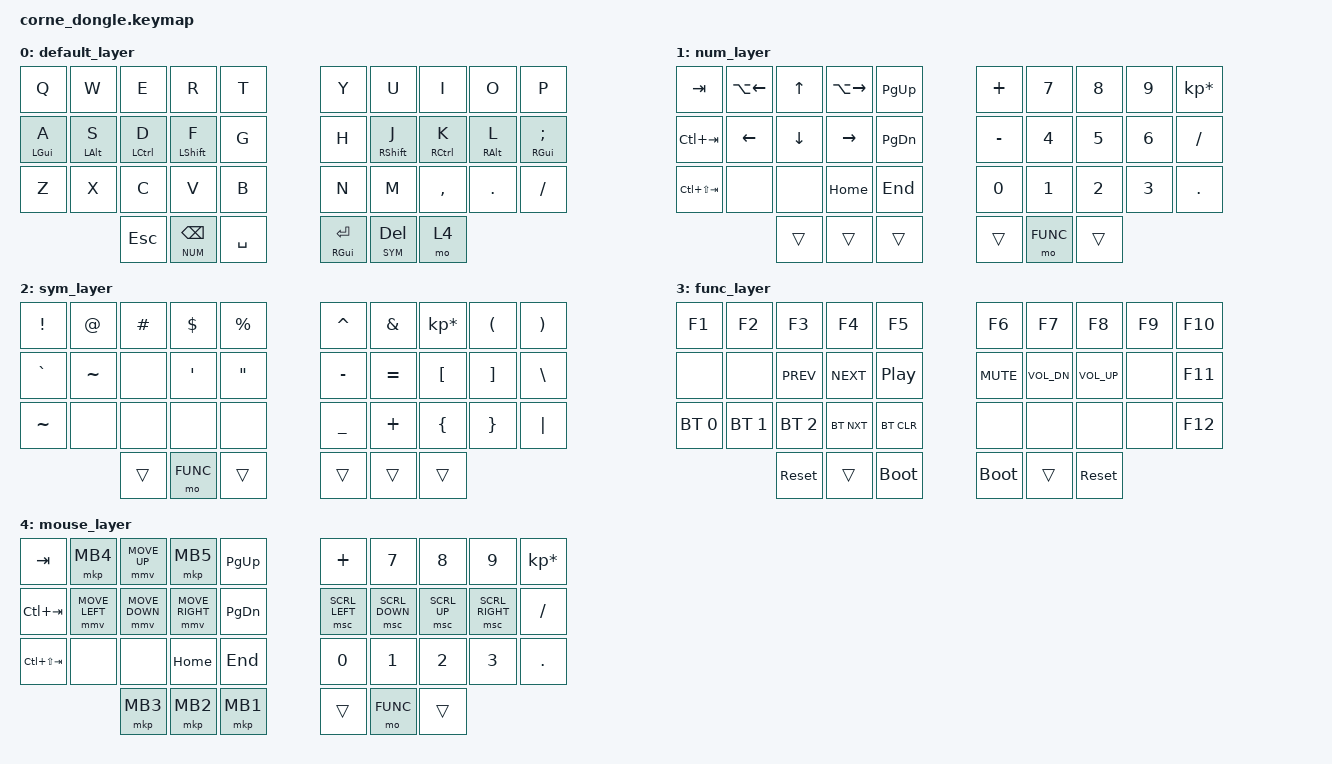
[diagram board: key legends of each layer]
/*
 * Copyright (c) 2020 The ZMK Contributors
 *
 * SPDX-License-Identifier: MIT
 */

#include <dt-bindings/zmk/keys.h>
#include <dt-bindings/zmk/bt.h>
#include <behaviors.dtsi>

#define ZMK_POINTING_DEFAULT_MOVE_VAL 1500

#include <dt-bindings/zmk/pointing.h>

// LAYERS
#define DEFAULT 0
#define NUM     1
#define SYM     2
#define FUNC    3
#define MOUSE   4

&mt {
  tapping-term-ms = <200>;
  flavor = "tap-preferred";
};

/ {
  behaviors {
    hml: homerow_mods_left {
      compatible = "zmk,behavior-hold-tap";
      label = "HOMEROW_MODS";
      #binding-cells = <2>;
      tapping-term-ms = <150>;
      require-prior-idle-ms = <85>;
      quick-tap-ms = <0>;
      flavor = "balanced";
      hold-trigger-key-positions = <6 7 8 9 10 11 18 19 20 21 22 29 30 31 32 33 34 38 39 40>;
      bindings = <&kp>, <&kp>;
      hold-trigger-on-release;
    };

    hmr: homerow_mods_right {
      compatible = "zmk,behavior-hold-tap";
      label = "HOMEROW_MODS";
      #binding-cells = <2>;
      tapping-term-ms = <150>;
      require-prior-idle-ms = <85>;
      quick-tap-ms = <0>;
      flavor = "balanced";
      hold-trigger-key-positions = <0 1 2 3 4 5 12 13 14 15 16 17 23 24 25 26 27 28 35 36 37>;
      bindings = <&kp>, <&kp>;
      hold-trigger-on-release;
    };
  };

  combos {
    compatible = "zmk,combos";
    combo_cword {
      timeout-ms = <75>;
      key-positions = <16 19>;
      bindings = <&caps_word>;
    };
  };

  keymap {
    compatible = "zmk,keymap";

    default_layer {
      bindings = <

&kp Q           &kp W       &kp E       &kp R           &kp T   /**/  &kp Y    &kp U           &kp I       &kp O       &kp P
&hml LGUI A      &hml LALT S  &hml LCTRL D &hml LSHIFT F    &kp G   /**/  &kp H    &hmr RSHIFT J    &hmr RCTRL K &hmr RALT L  &hmr RGUI SEMI
&kp Z           &kp X       &kp C       &kp V           &kp B   /**/  &kp N    &kp M           &kp COMMA   &kp DOT     &kp FSLH
                           &kp ESC &lt NUM BSPC &kp SPACE       /**/  &mt RGUI RET &lt SYM DEL &mo 4
      >;
    };

    num_layer {
      bindings = <

&kp TAB         &kp LA(LEFT)  &kp UP        &kp LA(RIGHT) &kp PG_UP  /**/  &kp PLUS   &kp N7  &kp N8  &kp N9  &kp KP_MULTIPLY
&kp LC(TAB)     &kp LEFT      &kp DOWN      &kp RIGHT     &kp PG_DN  /**/  &kp MINUS  &kp N4  &kp N5  &kp N6  &kp SLASH
&kp LC(LS(TAB)) &none         &none         &kp HOME      &kp END    /**/  &kp N0     &kp N1  &kp N2  &kp N3  &kp DOT
                &trans  &trans  &trans  /**/  &trans  &mo FUNC  &trans
      >;
    };

    sym_layer {
      bindings = <

&kp EXCL    &kp AT         &kp HASH     &kp DLLR    &kp PRCNT   /**/  &kp CARET &kp AMPS  &kp KP_MULTIPLY &kp LPAR &kp RPAR
&kp GRAVE   &kp TILDE      &none        &kp SQT     &kp DQT     /**/  &kp MINUS &kp EQUAL &kp LBKT        &kp RBKT &kp BSLH
&kp TILDE   &none          &none        &none       &none       /**/  &kp UNDER &kp PLUS  &kp LBRC        &kp RBRC &kp PIPE
            &trans &mo FUNC &trans  /**/  &trans &trans &trans
      >;
    };

    func_layer {
      bindings = <

&kp F1          &kp F2          &kp F3          &kp F4     &kp F5            /**/  &kp F6          &kp F7       &kp F8       &kp F9   &kp F10
&none           &none           &kp C_PREV      &kp C_NEXT &kp C_PLAY_PAUSE  /**/  &kp C_MUTE      &kp C_VOL_DN &kp C_VOL_UP &none    &kp F11
&bt BT_SEL 0    &bt BT_SEL 1    &bt BT_SEL 2    &bt BT_NXT &bt BT_CLR        /**/  &none           &none        &none        &none    &kp F12
                &sys_reset &trans &bootloader  /**/  &bootloader &trans &sys_reset
      >;
    };

    mouse_layer {
      bindings = <

&kp TAB         &mkp MB4   &mmv MOVE_UP   &mkp MB5   &kp PG_UP          /**/  &kp PLUS       &kp N7  &kp N8  &kp N9  &kp KP_MULTIPLY
&kp LC(TAB)     &mmv MOVE_LEFT &mmv MOVE_DOWN &mmv MOVE_RIGHT &kp PG_DN /**/  &msc SCRL_LEFT &msc SCRL_DOWN &msc SCRL_UP &msc SCRL_RIGHT &kp SLASH
&kp LC(LS(TAB)) &none          &none          &kp HOME        &kp END   /**/  &kp N0         &kp N1  &kp N2  &kp N3  &kp DOT
                                            &mkp MB3  &mkp MB2  &mkp MB1  /**/  &trans         &mo FUNC  &trans
      >;
    };
  };
};
